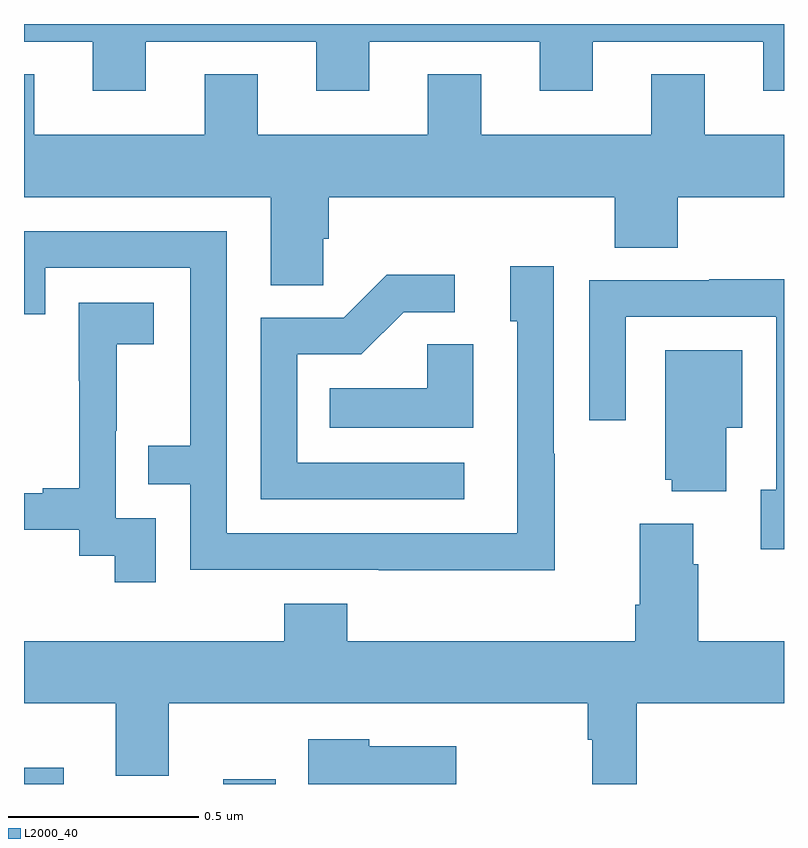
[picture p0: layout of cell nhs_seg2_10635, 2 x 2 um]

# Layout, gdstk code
import gdstk
lib = gdstk.Library(unit=1e-6, precision=1e-09)
def R(c, l, rs):  # rectangles x0, y0, x1, y1
    for r in rs: c.add(gdstk.rectangle(r[:2], r[2:], *l))
def P(c, l, *ps):  # polygons
    for p in ps: c.add(gdstk.Polygon(p, *l))
L2000_40 = (2000, 40)

nhs_seg2_10635 = lib.new_cell('nhs_seg2_10635')
R(nhs_seg2_10635, L2000_40, [(244,604.8,244.105,604.843), (244.524,604.8,244.663,604.813)])
P(nhs_seg2_10635, L2000_40, [(244.321,606.753),(244.769,606.753),(244.769,606.624),(244.909,606.624),(244.909,606.753),(245.357,606.753),(245.357,606.624),(245.497,606.624),(245.497,606.753),(245.945,606.753),(245.945,606.624),(246,606.624),(246,606.8),(244,606.8),(244,606.753),(244.181,606.753),(244.181,606.624),(244.321,606.624)],
  [(244.788,606.235),(244.802,606.235),(244.802,606.344),(245.555,606.344),(245.555,606.211),(245.72,606.211),(245.72,606.344),(246,606.344),(246,606.508),(245.791,606.508),(245.791,606.668),(245.651,606.668),(245.651,606.508),(245.203,606.508),(245.203,606.668),(245.063,606.668),(245.063,606.508),(244.615,606.508),(244.615,606.668),(244.475,606.668),(244.475,606.508),(244.027,606.508),(244.027,606.668),(244,606.668),(244,606.344),(244.649,606.344),(244.649,606.112),(244.788,606.112)],
  [(245.397,605.669),(245.394,605.669),(245.394,606.163),(245.279,606.163),(245.279,606.018),(245.298,606.018),(245.298,605.46),(244.533,605.46),(244.533,606.255),(244,606.255),(244,606.036),(244.056,606.036),(244.056,606.159),(244.437,606.159),(244.437,605.69),(244.327,605.69),(244.327,605.589),(244.437,605.589),(244.437,605.364),(244.933,605.364),(244.933,605.363),(245.397,605.363)],
  [(245.158,605.646),(244.719,605.646),(244.719,605.931),(244.888,605.931),(244.999,606.042),(245.134,606.042),(245.134,606.14),(244.955,606.14),(244.842,606.027),(244.623,606.027),(244.623,605.55),(245.158,605.55)],
  [(246,606.128),(245.803,606.128),(245.803,606.126),(245.487,606.126),(245.487,605.757),(245.583,605.757),(245.583,606.03),(245.979,606.03),(245.979,605.574),(245.939,605.574),(245.939,605.418),(246,605.418)],
  [(244.347,605.499),(244.242,605.499),(244.242,605.729),(244.244,605.729),(244.244,605.957),(244.342,605.957),(244.342,606.067),(244.144,606.067),(244.144,605.861),(244.145,605.861),(244.145,605.578),(244.049,605.578),(244.049,605.565),(244,605.565),(244,605.469),(244.146,605.469),(244.146,605.401),(244.239,605.401),(244.239,605.331),(244.347,605.331)],
  [(245.182,605.957),(245.061,605.957),(245.061,605.842),(244.804,605.842),(244.804,605.738),(245.182,605.738)],
  [(245.848,605.738),(245.89,605.738),(245.89,605.941),(245.687,605.941),(245.687,605.601),(245.705,605.601),(245.705,605.57),(245.848,605.57)],
  [(245.621,605.485),(245.621,605.272),(245.609,605.272),(245.609,605.176),(244.85,605.176),(244.85,605.275),(244.685,605.275),(244.685,605.176),(244,605.176),(244,605.012),(244.241,605.012),(244.241,604.822),(244.381,604.822),(244.381,605.012),(245.484,605.012),(245.484,604.916),(245.496,604.916),(245.496,604.8),(245.612,604.8),(245.612,605.012),(246,605.012),(246,605.176),(245.774,605.176),(245.774,605.378),(245.761,605.378),(245.761,605.485)],
  [(245.137,604.9),(244.908,604.9),(244.908,604.918),(244.748,604.918),(244.748,604.8),(245.137,604.8)])

lib.write_gds('nhs_seg2_10635.gds')
